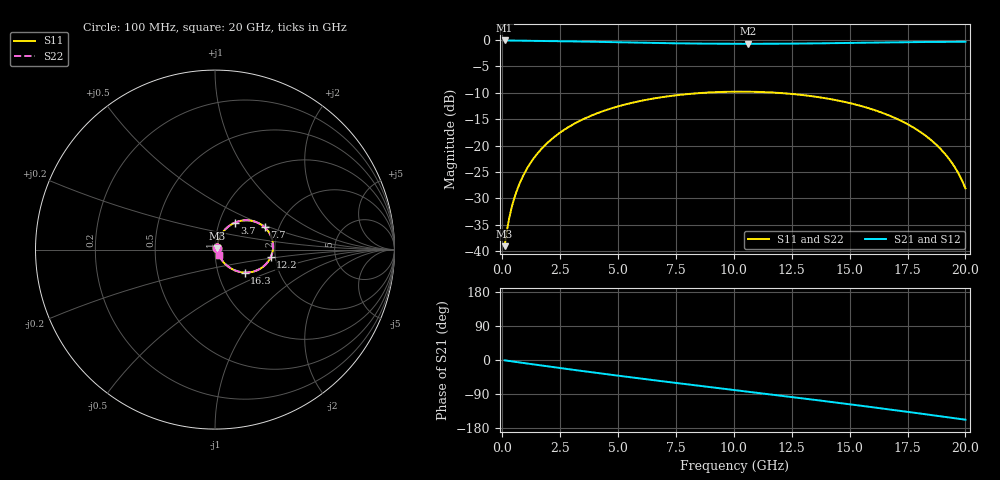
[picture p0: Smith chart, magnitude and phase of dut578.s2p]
! Touchstone file exported from HFSS 2026.1.0
!  File:  C:/ffzhzh/LocalFiles/Ansys_Project_Files/temp_train_TSV_RDL_578_1783118568_50312.aedt
!  Generated:  06:50:00 AM Jul  4, 2026
!  Design:  TSV_RDL
!  Project:  temp_train_TSV_RDL_578_1783118568_50312
! Variables:
!  h_bsmrdl = 5.74um
!  h_ox = 20um
!  h_rdl = 5um
!  h_sub = 58.8um
!  h_tmrdl = 4.19um
!  h_tsv = 58.8um
!  h_via = 3um
!  l_bsmrdl = 297.52um
!  l_sub = 2676.16um
!  l_tmrdl = 314.01um
!  m_sub = 200um
!  pitch = 39.55um
!  r_tsv = 12.38um
!  s_tmrdl = 10um
!  w_bsmrdl = 23.88um
!  w_sub = 500um
!  w_tmrdl = 18.64um
!  x_tsv_center1 = 323.33um
!  x_tsv_center2 = 644.73um
!  x_tsv_center3 = 977.38um
!  x_tsv_center4 = 1298.78um
!  x_tsv_center5 = 1631.43um
!  x_tsv_center6 = 1952.83um
# GHz S MA R 50.000000
! Terminal data exported
! Port[1] = TM_RDL1_1_T1
! Port[2] = TM_RDL5_1_T1
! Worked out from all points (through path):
!   200 points, 100 MHz to 20 GHz, reference 50 ohm
!   highest |S21| = -0.08 dB at 100 MHz (marker M1); lowest = -0.7 dB at 10.6 GHz (marker M2)
!   group delay of S21, straight-line fit = 21.4 ps
!   lowest |S11| = -39.0 dB at 100 MHz (marker M3), VSWR 1.02, Z = 50.9 + j0.635 ohm
!   |S11| at or under -10 dB: start of sweep to 8.663 GHz; 11.91 GHz to end of sweep
!   |S22| runs from -39.0 to -9.8 dB; largest |S21 - S12| = 5.3e-14
!   S11 on the Smith chart (normalised r, x): 100 MHz: 1.02, +0.01; 3.7 GHz: 1.19, +0.37; 7.7 GHz: 1.69, +0.46; 12.2 GHz: 1.89, -0.18; 16.3 GHz: 1.34, -0.36; 20 GHz: 1.04, -0.07
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0.1  0.01118 33.8  0.9908 -0.9  0.9908 -0.9  0.01118 33.8
! Gamma 0 0 0 0
! Port Impedance 50 0 50 0
0.3  0.02069 57.5  0.9895 -2.7  0.9895 -2.7  0.02069 57.5
0.5  0.03089 64.8  0.9886 -4.4  0.9886 -4.4  0.03089 64.8
0.8  0.0466 68.6  0.9873 -6.9  0.9873 -6.9  0.0466 68.6
1.1  0.06243 69.3  0.9859 -9.5  0.9859 -9.5  0.06243 69.3
1.6  0.08849 67.7  0.9829 -13.7  0.9829 -13.7  0.08849 67.7
2.1  0.1137 64.9  0.9792 -17.9  0.9792 -17.9  0.1137 64.9
3.5  0.1783 55.1  0.9666 -29.4  0.9666 -29.4  0.1783 55.1
3.7  0.1867 53.6  0.9646 -31.0  0.9646 -31.0  0.1867 53.6
5.1  0.2387 43.2  0.9507 -42.2  0.9507 -42.2  0.2387 43.2
6.8  0.2858 30.7  0.9358 -55.3  0.9358 -55.3  0.2858 30.7
7.7  0.3032 24.2  0.9296 -62.0  0.9296 -62.0  0.3032 24.2
10.1  0.3246 7.0  0.9211 -79.9  0.9211 -79.9  0.3246 7.1
10.6  0.3244 3.5  0.9208 -83.6  0.9208 -83.6  0.3244 3.5
12.2  0.3129 -7.9  0.9236 -95.5  0.9236 -95.5  0.3129 -7.9
13.4  0.2934 -16.6  0.9288 -104.5  0.9288 -104.5  0.2934 -16.5
16.3  0.2089 -37.7  0.9472 -127.1  0.9472 -127.1  0.2089 -37.7
16.7  0.1934 -40.7  0.9498 -130.3  0.9498 -130.3  0.1934 -40.6
17.9  0.1419 -49.1  0.9566 -140.1  0.9566 -140.1  0.1419 -49.0
18.8  0.09937 -54.6  0.9603 -147.5  0.9603 -147.5  0.09936 -54.4
19.5  0.06463 -57.2  0.9619 -153.3  0.9619 -153.3  0.06464 -56.9
20  0.03944 -55.6  0.9624 -157.5  0.9624 -157.5  0.0395 -55.0
